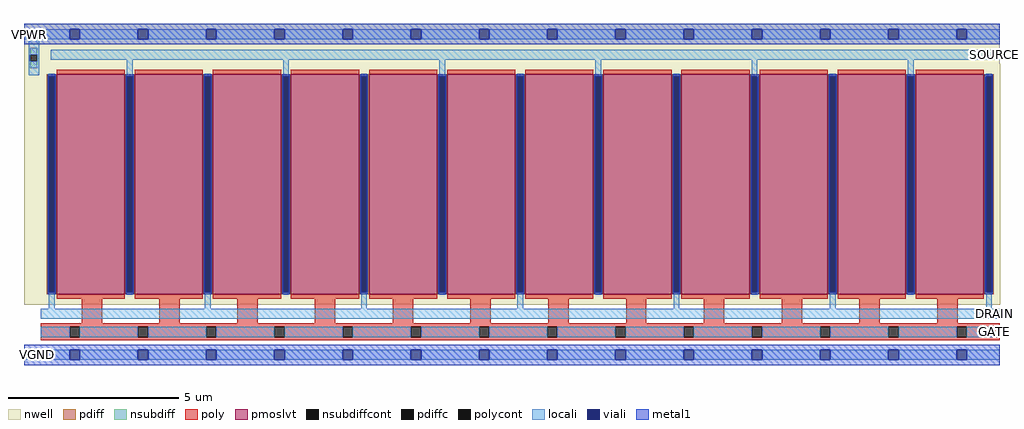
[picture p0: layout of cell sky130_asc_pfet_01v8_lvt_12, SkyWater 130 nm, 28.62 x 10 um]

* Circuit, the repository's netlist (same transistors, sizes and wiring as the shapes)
* NGSPICE file created from sky130_asc_pfet_01v8_lvt_12.ext - technology: sky130A

.subckt sky130_asc_pfet_01v8_lvt_12 GATE SOURCE DRAIN VGND VPWR
X0 SOURCE GATE DRAIN VPWR sky130_fd_pr__pfet_01v8_lvt ad=1.1223e+13p pd=8.088e+07u as=1.30935e+13p ps=9.436e+07u w=6.45e+06u l=2e+06u
X1 SOURCE GATE DRAIN VPWR sky130_fd_pr__pfet_01v8_lvt ad=0p pd=0u as=0p ps=0u w=6.45e+06u l=2e+06u
X2 DRAIN GATE SOURCE VPWR sky130_fd_pr__pfet_01v8_lvt ad=0p pd=0u as=0p ps=0u w=6.45e+06u l=2e+06u
X3 DRAIN GATE SOURCE VPWR sky130_fd_pr__pfet_01v8_lvt ad=0p pd=0u as=0p ps=0u w=6.45e+06u l=2e+06u
X4 SOURCE GATE DRAIN VPWR sky130_fd_pr__pfet_01v8_lvt ad=0p pd=0u as=0p ps=0u w=6.45e+06u l=2e+06u
X5 DRAIN GATE SOURCE VPWR sky130_fd_pr__pfet_01v8_lvt ad=0p pd=0u as=0p ps=0u w=6.45e+06u l=2e+06u
X6 DRAIN GATE SOURCE VPWR sky130_fd_pr__pfet_01v8_lvt ad=0p pd=0u as=0p ps=0u w=6.45e+06u l=2e+06u
X7 DRAIN GATE SOURCE VPWR sky130_fd_pr__pfet_01v8_lvt ad=0p pd=0u as=0p ps=0u w=6.45e+06u l=2e+06u
X8 SOURCE GATE DRAIN VPWR sky130_fd_pr__pfet_01v8_lvt ad=0p pd=0u as=0p ps=0u w=6.45e+06u l=2e+06u
X9 SOURCE GATE DRAIN VPWR sky130_fd_pr__pfet_01v8_lvt ad=0p pd=0u as=0p ps=0u w=6.45e+06u l=2e+06u
X10 DRAIN GATE SOURCE VPWR sky130_fd_pr__pfet_01v8_lvt ad=0p pd=0u as=0p ps=0u w=6.45e+06u l=2e+06u
X11 SOURCE GATE DRAIN VPWR sky130_fd_pr__pfet_01v8_lvt ad=0p pd=0u as=0p ps=0u w=6.45e+06u l=2e+06u
.ends

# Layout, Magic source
magic
tech sky130A
magscale 1 2
<< nwell >>
rect 0 1707 5722 1940
rect 0 294 5723 1707
rect 97 293 5723 294
<< pmoslvt >>
rect 191 355 591 1645
rect 649 355 1049 1645
rect 1107 355 1507 1645
rect 1565 355 1965 1645
rect 2023 355 2423 1645
rect 2481 355 2881 1645
rect 2939 355 3339 1645
rect 3397 355 3797 1645
rect 3855 355 4255 1645
rect 4313 355 4713 1645
rect 4771 355 5171 1645
rect 5229 355 5629 1645
<< pdiff >>
rect 133 1633 191 1645
rect 133 367 145 1633
rect 179 367 191 1633
rect 133 355 191 367
rect 591 1633 649 1645
rect 591 367 603 1633
rect 637 367 649 1633
rect 591 355 649 367
rect 1049 1633 1107 1645
rect 1049 367 1061 1633
rect 1095 367 1107 1633
rect 1049 355 1107 367
rect 1507 1633 1565 1645
rect 1507 367 1519 1633
rect 1553 367 1565 1633
rect 1507 355 1565 367
rect 1965 1633 2023 1645
rect 1965 367 1977 1633
rect 2011 367 2023 1633
rect 1965 355 2023 367
rect 2423 1633 2481 1645
rect 2423 367 2435 1633
rect 2469 367 2481 1633
rect 2423 355 2481 367
rect 2881 1633 2939 1645
rect 2881 367 2893 1633
rect 2927 367 2939 1633
rect 2881 355 2939 367
rect 3339 1633 3397 1645
rect 3339 367 3351 1633
rect 3385 367 3397 1633
rect 3339 355 3397 367
rect 3797 1633 3855 1645
rect 3797 367 3809 1633
rect 3843 367 3855 1633
rect 3797 355 3855 367
rect 4255 1633 4313 1645
rect 4255 367 4267 1633
rect 4301 367 4313 1633
rect 4255 355 4313 367
rect 4713 1633 4771 1645
rect 4713 367 4725 1633
rect 4759 367 4771 1633
rect 4713 355 4771 367
rect 5171 1633 5229 1645
rect 5171 367 5183 1633
rect 5217 367 5229 1633
rect 5171 355 5229 367
rect 5629 1633 5687 1645
rect 5629 367 5641 1633
rect 5675 367 5687 1633
rect 5629 355 5687 367
<< pdiffc >>
rect 145 367 179 1633
rect 603 367 637 1633
rect 1061 367 1095 1633
rect 1519 367 1553 1633
rect 1977 367 2011 1633
rect 2435 367 2469 1633
rect 2893 367 2927 1633
rect 3351 367 3385 1633
rect 3809 367 3843 1633
rect 4267 367 4301 1633
rect 4725 367 4759 1633
rect 5183 367 5217 1633
rect 5641 367 5675 1633
<< nsubdiff >>
rect 38 1760 78 1800
rect 38 1680 78 1720
<< nsubdiffcont >>
rect 38 1720 78 1760
<< poly >>
rect 191 1645 591 1671
rect 649 1645 1049 1671
rect 1107 1645 1507 1671
rect 1565 1645 1965 1671
rect 2023 1645 2423 1671
rect 2481 1645 2881 1671
rect 2939 1645 3339 1671
rect 3397 1645 3797 1671
rect 3855 1645 4255 1671
rect 4313 1645 4713 1671
rect 4771 1645 5171 1671
rect 5229 1645 5629 1671
rect 191 329 591 355
rect 649 329 1049 355
rect 1107 329 1507 355
rect 1565 329 1965 355
rect 2023 329 2423 355
rect 2481 329 2881 355
rect 2939 329 3339 355
rect 3397 329 3797 355
rect 3855 329 4255 355
rect 4313 329 4713 355
rect 4771 329 5171 355
rect 5229 329 5629 355
rect 338 184 458 329
rect 794 184 914 329
rect 1250 184 1370 329
rect 1706 184 1826 329
rect 2162 184 2282 329
rect 2618 184 2738 329
rect 3074 184 3194 329
rect 3530 184 3650 329
rect 3986 184 4106 329
rect 4442 184 4562 329
rect 4898 184 5018 329
rect 5354 184 5474 329
rect 98 164 5722 184
rect 98 104 268 164
rect 328 104 668 164
rect 728 104 1068 164
rect 1128 104 1468 164
rect 1528 104 1868 164
rect 1928 104 2268 164
rect 2328 104 2668 164
rect 2728 104 3068 164
rect 3128 104 3468 164
rect 3528 104 3868 164
rect 3928 104 4268 164
rect 4328 104 4668 164
rect 4728 104 5068 164
rect 5128 104 5468 164
rect 5528 104 5722 164
rect 98 84 5722 104
<< polycont >>
rect 268 104 328 164
rect 668 104 728 164
rect 1068 104 1128 164
rect 1468 104 1528 164
rect 1868 104 1928 164
rect 2268 104 2328 164
rect 2668 104 2728 164
rect 3068 104 3128 164
rect 3468 104 3528 164
rect 3868 104 3928 164
rect 4268 104 4328 164
rect 4668 104 4728 164
rect 5068 104 5128 164
rect 5468 104 5528 164
<< locali >>
rect 0 1850 268 1910
rect 328 1850 668 1910
rect 728 1850 1068 1910
rect 1128 1850 1468 1910
rect 1528 1850 1868 1910
rect 1928 1850 2268 1910
rect 2328 1850 2668 1910
rect 2728 1850 3068 1910
rect 3128 1850 3468 1910
rect 3528 1850 3868 1910
rect 3928 1850 4268 1910
rect 4328 1850 4668 1910
rect 4728 1850 5068 1910
rect 5128 1850 5468 1910
rect 5528 1850 5722 1910
rect 28 1760 88 1850
rect 28 1720 38 1760
rect 78 1720 88 1760
rect 158 1730 5722 1790
rect 28 1640 88 1720
rect 145 1633 179 1649
rect 145 270 179 367
rect 603 1633 637 1730
rect 603 351 637 367
rect 1061 1633 1095 1649
rect 1061 270 1095 367
rect 1519 1633 1553 1730
rect 1519 351 1553 367
rect 1977 1633 2011 1649
rect 1977 270 2011 367
rect 2435 1633 2469 1730
rect 2435 351 2469 367
rect 2893 1633 2927 1649
rect 2893 270 2927 367
rect 3351 1633 3385 1730
rect 3351 351 3385 367
rect 3809 1633 3843 1649
rect 3809 270 3843 367
rect 4267 1633 4301 1730
rect 4267 351 4301 367
rect 4725 1633 4759 1649
rect 4725 270 4759 367
rect 5183 1633 5217 1730
rect 5183 351 5217 367
rect 5641 1633 5675 1649
rect 5641 270 5675 367
rect 98 210 5722 270
rect 98 104 268 164
rect 328 104 668 164
rect 728 104 1068 164
rect 1128 104 1468 164
rect 1528 104 1868 164
rect 1928 104 2268 164
rect 2328 104 2668 164
rect 2728 104 3068 164
rect 3128 104 3468 164
rect 3528 104 3868 164
rect 3928 104 4268 164
rect 4328 104 4668 164
rect 4728 104 5068 164
rect 5128 104 5468 164
rect 5528 104 5722 164
rect 0 -30 268 30
rect 328 -30 668 30
rect 728 -30 1068 30
rect 1128 -30 1468 30
rect 1528 -30 1868 30
rect 1928 -30 2268 30
rect 2328 -30 2668 30
rect 2728 -30 3068 30
rect 3128 -30 3468 30
rect 3528 -30 3868 30
rect 3928 -30 4268 30
rect 4328 -30 4668 30
rect 4728 -30 5068 30
rect 5128 -30 5468 30
rect 5528 -30 5722 30
<< viali >>
rect 268 1850 328 1910
rect 668 1850 728 1910
rect 1068 1850 1128 1910
rect 1468 1850 1528 1910
rect 1868 1850 1928 1910
rect 2268 1850 2328 1910
rect 2668 1850 2728 1910
rect 3068 1850 3128 1910
rect 3468 1850 3528 1910
rect 3868 1850 3928 1910
rect 4268 1850 4328 1910
rect 4668 1850 4728 1910
rect 5068 1850 5128 1910
rect 5468 1850 5528 1910
rect 145 367 179 1633
rect 603 367 637 1633
rect 1061 367 1095 1633
rect 1519 367 1553 1633
rect 1977 367 2011 1633
rect 2435 367 2469 1633
rect 2893 367 2927 1633
rect 3351 367 3385 1633
rect 3809 367 3843 1633
rect 4267 367 4301 1633
rect 4725 367 4759 1633
rect 5183 367 5217 1633
rect 5641 367 5675 1633
rect 268 -30 328 30
rect 668 -30 728 30
rect 1068 -30 1128 30
rect 1468 -30 1528 30
rect 1868 -30 1928 30
rect 2268 -30 2328 30
rect 2668 -30 2728 30
rect 3068 -30 3128 30
rect 3468 -30 3528 30
rect 3868 -30 3928 30
rect 4268 -30 4328 30
rect 4668 -30 4728 30
rect 5068 -30 5128 30
rect 5468 -30 5528 30
<< metal1 >>
rect 0 1910 5722 1940
rect 0 1850 268 1910
rect 328 1850 668 1910
rect 728 1850 1068 1910
rect 1128 1850 1468 1910
rect 1528 1850 1868 1910
rect 1928 1850 2268 1910
rect 2328 1850 2668 1910
rect 2728 1850 3068 1910
rect 3128 1850 3468 1910
rect 3528 1850 3868 1910
rect 3928 1850 4268 1910
rect 4328 1850 4668 1910
rect 4728 1850 5068 1910
rect 5128 1850 5468 1910
rect 5528 1850 5722 1910
rect 0 1820 5722 1850
rect 139 1633 185 1645
rect 139 367 145 1633
rect 179 367 185 1633
rect 139 355 185 367
rect 597 1633 643 1645
rect 597 367 603 1633
rect 637 367 643 1633
rect 597 355 643 367
rect 1055 1633 1101 1645
rect 1055 367 1061 1633
rect 1095 367 1101 1633
rect 1055 355 1101 367
rect 1513 1633 1559 1645
rect 1513 367 1519 1633
rect 1553 367 1559 1633
rect 1513 355 1559 367
rect 1971 1633 2017 1645
rect 1971 367 1977 1633
rect 2011 367 2017 1633
rect 1971 355 2017 367
rect 2429 1633 2475 1645
rect 2429 367 2435 1633
rect 2469 367 2475 1633
rect 2429 355 2475 367
rect 2887 1633 2933 1645
rect 2887 367 2893 1633
rect 2927 367 2933 1633
rect 2887 355 2933 367
rect 3345 1633 3391 1645
rect 3345 367 3351 1633
rect 3385 367 3391 1633
rect 3345 355 3391 367
rect 3803 1633 3849 1645
rect 3803 367 3809 1633
rect 3843 367 3849 1633
rect 3803 355 3849 367
rect 4261 1633 4307 1645
rect 4261 367 4267 1633
rect 4301 367 4307 1633
rect 4261 355 4307 367
rect 4719 1633 4765 1645
rect 4719 367 4725 1633
rect 4759 367 4765 1633
rect 4719 355 4765 367
rect 5177 1633 5223 1645
rect 5177 367 5183 1633
rect 5217 367 5223 1633
rect 5177 355 5223 367
rect 5635 1633 5681 1645
rect 5635 367 5641 1633
rect 5675 367 5681 1633
rect 5635 355 5681 367
rect 0 30 5722 60
rect 0 -30 268 30
rect 328 -30 668 30
rect 728 -30 1068 30
rect 1128 -30 1468 30
rect 1528 -30 1868 30
rect 1928 -30 2268 30
rect 2328 -30 2668 30
rect 2728 -30 3068 30
rect 3128 -30 3468 30
rect 3528 -30 3868 30
rect 3928 -30 4268 30
rect 4328 -30 4668 30
rect 4728 -30 5068 30
rect 5128 -30 5468 30
rect 5528 -30 5722 30
rect 0 -60 5722 -30
<< labels >>
flabel nwell 0 1850 60 1910 1 FreeSans 800 0 0 0 VPWR
port 4 n power bidirectional
flabel metal1 0 -30 158 30 1 FreeSans 800 0 0 0 VGND
port 5 n ground bidirectional
flabel locali 5662 1730 5722 1790 1 FreeSans 800 0 0 0 SOURCE
port 2 n signal bidirectional
flabel locali 5662 210 5722 270 1 FreeSans 800 0 0 0 DRAIN
port 3 n signal bidirectional
flabel locali 5662 104 5722 164 1 FreeSans 800 0 0 0 GATE
port 1 n signal bidirectional
<< properties >>
string FIXED_BBOX 0 0 5723 1880
string LEFclass CORE
string LEFsite unitasc
<< end >>
